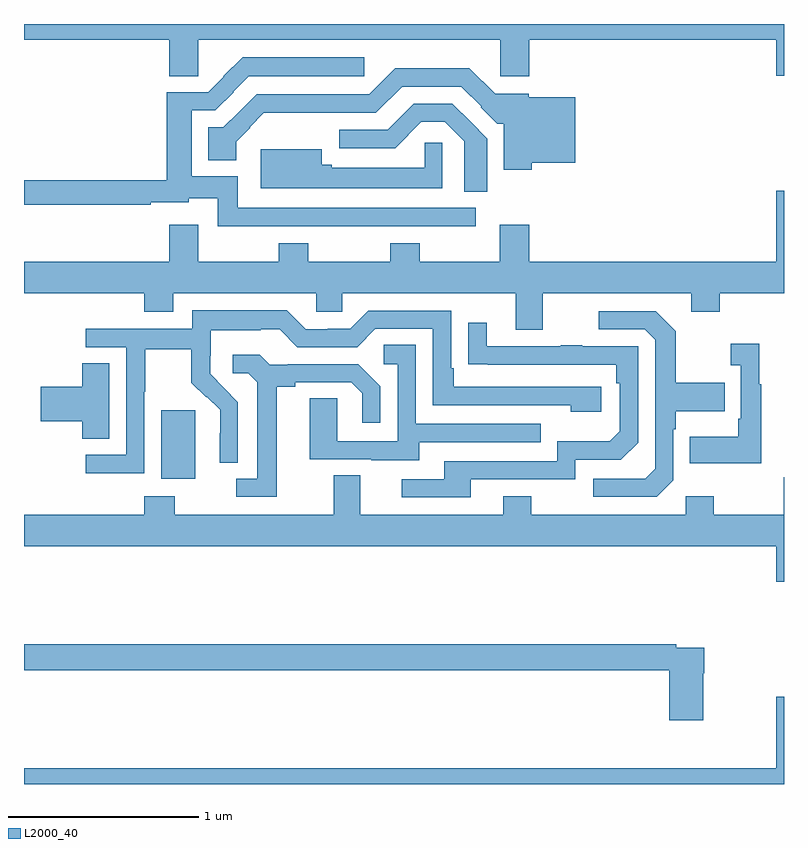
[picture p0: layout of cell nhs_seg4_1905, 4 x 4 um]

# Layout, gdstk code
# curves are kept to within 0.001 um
import gdstk
lib = gdstk.Library(unit=1e-6, precision=1e-09)
def R(c, l, rs):  # rectangles x0, y0, x1, y1
    for r in rs: c.add(gdstk.rectangle(r[:2], r[2:], *l))
def P(c, l, *ps):  # polygons
    for p in ps: c.add(gdstk.Polygon(p, *l))
L2000_40 = (2000, 40)

nhs_seg4_1905 = lib.new_cell('nhs_seg4_1905')
R(nhs_seg4_1905, L2000_40, [(209.723,798.506,209.902,798.867)])
P(nhs_seg4_1905, L2000_40, [(211.658,800.816),(212.96,800.816),(212.96,800.628),(213,800.628),(213,800.9),(209,800.9),(209,800.816),(209.765,800.816),(209.765,800.626),(209.916,800.626),(209.916,800.816),(211.507,800.816),(211.507,800.625),(211.658,800.625)],
  [(210.251,799.836),(211.378,799.836),(211.378,799.932),(210.124,799.932),(210.124,800.098),(209.884,800.098),(209.884,800.445),(210.007,800.445),(210.104,800.542),(210.102,800.544),(210.183,800.625),(210.79,800.625),(210.79,800.725),(210.15,800.725),(210.049,800.624),(210.051,800.622),(209.97,800.541),(209.75,800.541),(209.75,800.078),(209,800.078),(209,799.95),(209.666,799.95),(209.666,799.962),(209.868,799.962),(209.868,799.982),(210.02,799.982),(210.02,799.835)],
  [(211.673,800.171),(211.9,800.171),(211.9,800.515),(211.656,800.515),(211.656,800.532),(211.479,800.532),(211.343,800.668),(210.955,800.668),(210.816,800.529),(210.224,800.529),(210.049,800.356),(209.969,800.356),(209.969,800.184),(210.118,800.184),(210.118,800.281),(210.191,800.354),(210.188,800.357),(210.263,800.432),(210.852,800.433),(210.99,800.571),(211.302,800.571),(211.407,800.466),(211.404,800.463),(211.492,800.376),(211.526,800.376),(211.526,800.132),(211.673,800.132)],
  [(211.438,800.297),(211.255,800.481),(211.052,800.481),(210.914,800.343),(210.66,800.343),(210.66,800.247),(210.954,800.247),(211.092,800.385),(211.215,800.385),(211.317,800.284),(211.317,800.017),(211.438,800.017)],
  [(211.202,800.275),(211.108,800.275),(211.108,800.143),(210.621,800.143),(210.621,800.158),(210.568,800.158),(210.568,800.242),(210.246,800.242),(210.246,800.036),(211.202,800.036)],
  [(211.729,799.484),(212.513,799.484),(212.513,799.385),(212.661,799.385),(212.661,799.484),(213,799.484),(213,800.023),(212.96,800.023),(212.96,799.648),(211.658,799.648),(211.658,799.843),(211.505,799.843),(211.505,799.648),(211.083,799.648),(211.083,799.747),(210.928,799.747),(210.928,799.648),(210.495,799.648),(210.495,799.747),(210.34,799.747),(210.34,799.648),(209.917,799.648),(209.917,799.843),(209.765,799.843),(209.765,799.648),(209,799.648),(209,799.484),(209.633,799.484),(209.633,799.385),(209.785,799.385),(209.785,799.484),(210.537,799.484),(210.537,799.386),(210.675,799.386),(210.675,799.484),(211.589,799.484),(211.589,799.29),(211.729,799.29)],
  [(209.634,798.964),(209.637,798.964),(209.637,799.188),(209.881,799.188),(209.881,799.013),(209.958,798.936),(209.961,798.939),(210.032,798.869),(210.032,798.746),(210.03,798.746),(210.03,798.592),(210.126,798.592),(210.126,798.91),(209.98,799.058),(209.98,799.155),(209.982,799.155),(209.982,799.289),(210.245,799.289),(210.245,799.293),(210.345,799.293),(210.438,799.2),(210.753,799.2),(210.849,799.296),(211.152,799.296),(211.152,798.894),(211.877,798.894),(211.877,798.86),(212.038,798.86),(212.038,798.99),(211.261,798.99),(211.261,799.087),(211.248,799.087),(211.248,799.392),(210.813,799.392),(210.717,799.296),(210.599,799.296),(210.599,799.293),(210.483,799.293),(210.383,799.393),(209.886,799.393),(209.886,799.296),(209.325,799.296),(209.325,799.2),(209.538,799.2),(209.538,798.633),(209.325,798.633),(209.325,798.535),(209.634,798.535)],
  [(212.418,798.498),(212.418,798.767),(212.431,798.767),(212.431,798.863),(212.687,798.863),(212.687,799.011),(212.431,799.011),(212.431,799.283),(212.325,799.389),(212.025,799.389),(212.025,799.293),(212.268,799.293),(212.322,799.239),(212.322,798.558),(212.271,798.507),(211.995,798.507),(211.995,798.411),(212.331,798.411)],
  [(211.351,798.504),(211.902,798.504),(211.902,798.606),(212.142,798.606),(212.232,798.696),(212.232,799.203),(211.937,799.203),(211.937,799.208),(211.825,799.208),(211.825,799.203),(211.435,799.203),(211.435,799.327),(211.339,799.327),(211.339,799.108),(212.116,799.107),(212.116,799.01),(212.136,799.01),(212.136,798.756),(212.083,798.703),(211.806,798.703),(211.806,798.6),(211.211,798.6),(211.211,798.504),(210.987,798.504),(210.987,798.408),(211.351,798.408)],
  [(212.881,799.003),(212.869,799.003),(212.869,799.216),(212.721,799.216),(212.721,799.103),(212.772,799.103),(212.772,798.823),(212.76,798.823),(212.76,798.727),(212.503,798.727),(212.503,798.587),(212.881,798.587)],
  [(211.081,798.699),(211.721,798.699),(211.721,798.795),(211.062,798.795),(211.062,799.211),(210.894,799.211),(210.894,799.11),(210.966,799.11),(210.966,798.705),(210.648,798.705),(210.648,798.929),(210.503,798.929),(210.503,798.609),(210.827,798.609),(210.827,798.605),(211.081,798.605)],
  [(210.331,798.992),(210.427,798.992),(210.427,799.014),(210.722,799.014),(210.779,798.957),(210.779,798.801),(210.876,798.801),(210.876,798.994),(210.76,799.11),(210.388,799.11),(210.388,799.107),(210.294,799.107),(210.242,799.159),(210.099,799.159),(210.099,799.062),(210.18,799.062),(210.227,799.015),(210.227,798.507),(210.117,798.507),(210.117,798.411),(210.331,798.411)],
  [(209.449,799.115),(209.306,799.115),(209.306,798.992),(209.088,798.992),(209.088,798.809),(209.306,798.809),(209.306,798.718),(209.449,798.718)],
  [(213,798.515),(212.998,798.515),(212.998,798.316),(212.631,798.316),(212.631,798.415),(212.484,798.415),(212.484,798.316),(211.671,798.316),(211.671,798.415),(211.523,798.415),(211.523,798.316),(210.769,798.316),(210.769,798.524),(210.629,798.524),(210.629,798.316),(209.793,798.316),(209.793,798.415),(209.633,798.415),(209.633,798.316),(209,798.316),(209,798.152),(212.96,798.152),(212.96,797.964),(213,797.964)],
  [(212.574,797.483),(212.579,797.483),(212.579,797.616),(212.432,797.616),(212.432,797.636),(209,797.636),(209,797.5),(212.396,797.5),(212.396,797.235),(212.574,797.235)],
  [(213,797.359),(212.96,797.359),(212.96,796.984),(209,796.984),(209,796.9),(213,796.9)])

lib.write_gds('nhs_seg4_1905.gds')
